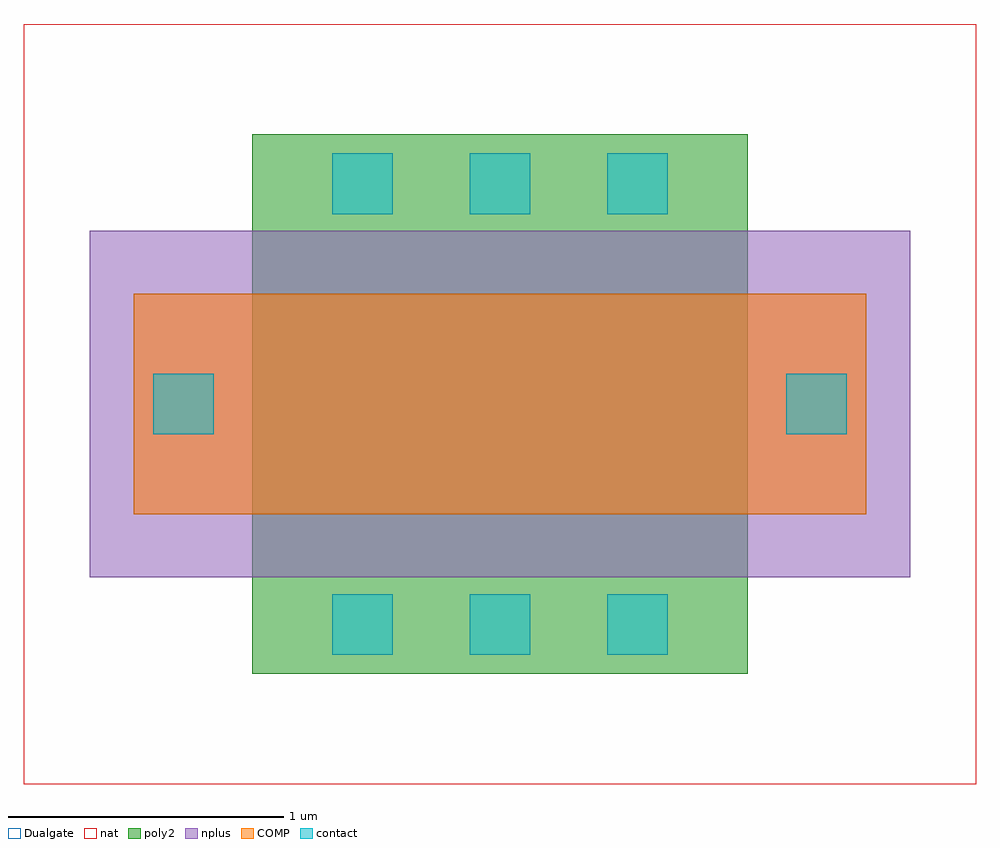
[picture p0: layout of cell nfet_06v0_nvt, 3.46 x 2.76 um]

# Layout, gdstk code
import gdstk
lib = gdstk.Library(unit=1e-6, precision=1e-09)
def R(c, l, rs):  # rectangles x0, y0, x1, y1
    for r in rs: c.add(gdstk.rectangle(r[:2], r[2:], *l))
nat = (5, 0)
COMP = (22, 0)
poly2 = (30, 0)
nplus = (32, 0)
contact = (33, 0)
Dualgate = (55, 0)

labels_gen_dec927dc = lib.new_cell('labels_gen_dec927dc')

labels_gen_326ff09a = lib.new_cell('labels_gen_326ff09a')

labels_gen_c3b4faed = lib.new_cell('labels_gen_c3b4faed')

compass_f9da3d91 = lib.new_cell('compass_f9da3d91')
R(compass_f9da3d91, COMP, [(-0.97,-0.4,0.97,0.4)])

rectangle_f9da3d91 = lib.new_cell('rectangle_f9da3d91')
rectangle_f9da3d91.add(gdstk.Reference(compass_f9da3d91, (0.97,0.4)))

compass_2275cc76 = lib.new_cell('compass_2275cc76')
R(compass_2275cc76, COMP, [(-0.18,-0.4,0.18,0.4)])

rectangle_2275cc76 = lib.new_cell('rectangle_2275cc76')
rectangle_2275cc76.add(gdstk.Reference(compass_2275cc76, (0.18,0.4)))

compass_f38dc993 = lib.new_cell('compass_f38dc993')
R(compass_f38dc993, contact, [(-0.11,-0.11,0.11,0.11)])

rectangle_f38dc993 = lib.new_cell('rectangle_f38dc993')
rectangle_f38dc993.add(gdstk.Reference(compass_f38dc993, (0.11,0.11)))

via_generator_3e6de886 = lib.new_cell('via_generator_3e6de886')
r = gdstk.Reference(rectangle_f38dc993, (-0.29,0.29)); r.repetition = gdstk.Repetition(1, 1, v1=(0.5,0), v2=(0,0.5)); via_generator_3e6de886.add(r)

compass_9deecdff = lib.new_cell('compass_9deecdff')
R(compass_9deecdff, COMP, [(-0.17,-0.17,0.17,0.17)])

rectangle_9deecdff = lib.new_cell('rectangle_9deecdff')
rectangle_9deecdff.add(gdstk.Reference(compass_9deecdff, (0.17,0.17)))

via_stack_5535ddf4 = lib.new_cell('via_stack_5535ddf4')
via_stack_5535ddf4.add(gdstk.Reference(via_generator_3e6de886, (0,0)))
via_stack_5535ddf4.add(gdstk.Reference(rectangle_9deecdff, (-0.35,0.23)))

compass_0bbb263b = lib.new_cell('compass_0bbb263b')
R(compass_0bbb263b, poly2, [(-0.9,-0.62,0.9,0.62)])

rectangle_0bbb263b = lib.new_cell('rectangle_0bbb263b')
rectangle_0bbb263b.add(gdstk.Reference(compass_0bbb263b, (0.9,0.62)))

compass_9d0da591 = lib.new_cell('compass_9d0da591')
R(compass_9d0da591, poly2, [(-0.9,-0.18,0.9,0.18)])

rectangle_9d0da591 = lib.new_cell('rectangle_9d0da591')
rectangle_9d0da591.add(gdstk.Reference(compass_9d0da591, (0.9,0.18)))

via_generator_ff60cc72 = lib.new_cell('via_generator_ff60cc72')
r = gdstk.Reference(rectangle_f38dc993, (0.29,0.07)); r.repetition = gdstk.Repetition(3, 1, v1=(0.5,0), v2=(0,0.5)); via_generator_ff60cc72.add(r)

compass_06c27f8b = lib.new_cell('compass_06c27f8b')
R(compass_06c27f8b, poly2, [(-0.67,-0.17,0.67,0.17)])

rectangle_06c27f8b = lib.new_cell('rectangle_06c27f8b')
rectangle_06c27f8b.add(gdstk.Reference(compass_06c27f8b, (0.67,0.17)))

via_stack_f9f21536 = lib.new_cell('via_stack_f9f21536')
via_stack_f9f21536.add(gdstk.Reference(via_generator_ff60cc72, (0,0)))
via_stack_f9f21536.add(gdstk.Reference(rectangle_06c27f8b, (0.23,0.01)))

poly_con_1 = lib.new_cell('poly con$1')
poly_con_1.add(gdstk.Reference(rectangle_9d0da591, (0,0)))
poly_con_1.add(gdstk.Reference(via_stack_f9f21536, (0,0)))

compass_fd0e66b0 = lib.new_cell('compass_fd0e66b0')
R(compass_fd0e66b0, nplus, [(-1.49,-0.63,1.49,0.63)])

rectangle_fd0e66b0 = lib.new_cell('rectangle_fd0e66b0')
rectangle_fd0e66b0.add(gdstk.Reference(compass_fd0e66b0, (1.49,0.63)))

dev_temp_1 = lib.new_cell('dev_temp$1')
dev_temp_1.add(gdstk.Reference(rectangle_f9da3d91, (0,0)))
r = gdstk.Reference(rectangle_2275cc76, (-0.36,0)); r.repetition = gdstk.Repetition(2, 1, v1=(2.3,0), v2=(0,1)); dev_temp_1.add(r)
r = gdstk.Reference(via_stack_5535ddf4, (0,0)); r.repetition = gdstk.Repetition(2, 1, v1=(2.3,0), v2=(0,1)); dev_temp_1.add(r)
dev_temp_1.add(gdstk.Reference(rectangle_0bbb263b, (0.07,-0.22)))
r = gdstk.Reference(poly_con_1, (0.07,-0.58)); r.repetition = gdstk.Repetition(1, 2, v1=(1,0), v2=(0,1.6)); dev_temp_1.add(r)
dev_temp_1.add(gdstk.Reference(rectangle_fd0e66b0, (-0.52,-0.23)))

compass_c9c99d1b = lib.new_cell('compass_c9c99d1b')
R(compass_c9c99d1b, Dualgate, [(-1.73,-1.38,1.73,1.38)])

rectangle_c9c99d1b = lib.new_cell('rectangle_c9c99d1b')
rectangle_c9c99d1b.add(gdstk.Reference(compass_c9c99d1b, (1.73,1.38)))

compass_9d918a57 = lib.new_cell('compass_9d918a57')
R(compass_9d918a57, nat, [(-1.73,-1.38,1.73,1.38)])

rectangle_9d918a57 = lib.new_cell('rectangle_9d918a57')
rectangle_9d918a57.add(gdstk.Reference(compass_9d918a57, (1.73,1.38)))

nfet_06v0_nvt = lib.new_cell('nfet_06v0_nvt')
nfet_06v0_nvt.add(gdstk.Reference(labels_gen_dec927dc, (0,0)))
nfet_06v0_nvt.add(gdstk.Reference(labels_gen_326ff09a, (0,0)))
nfet_06v0_nvt.add(gdstk.Reference(labels_gen_c3b4faed, (0,0)))
nfet_06v0_nvt.add(gdstk.Reference(dev_temp_1, (0,0)))
nfet_06v0_nvt.add(gdstk.Reference(rectangle_c9c99d1b, (-0.76,-0.98)))
nfet_06v0_nvt.add(gdstk.Reference(rectangle_9d918a57, (-0.76,-0.98)))

lib.write_gds('nfet_06v0_nvt.gds')
